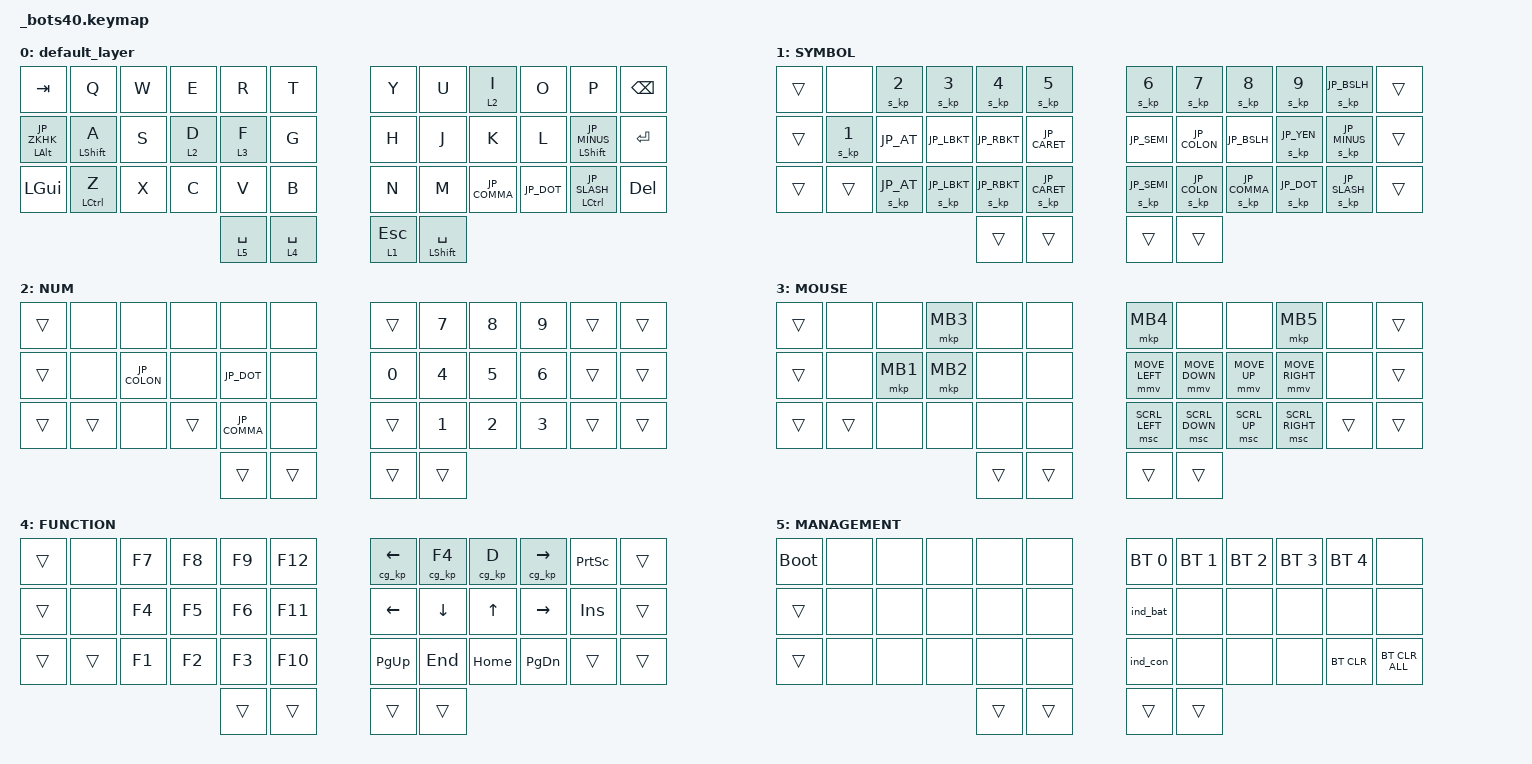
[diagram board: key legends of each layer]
#include <behaviors.dtsi>
#include <dt-bindings/zmk/bt.h>
#include <dt-bindings/zmk/keys.h>
#include <dt-bindings/zmk/pointing.h>

#include "./keycode_japanese.h"
#include <behaviors/rgbled_widget.dtsi>

// マウスの速度設定
#define ZMK_POINTING_DEFAULT_MOVE_VAL 1500 // defaullt; 600
#define ZMK_POINTING_DEFAULT_SCRL_VAL 20   // defaullt; 10

&mt {
    flavor = "balanced";
    quick-tap-ms = <0>;
};

&mmv {
    time-to-max-speed-ms = <300>;
    acceleration-exponent = <1>;
};
&msc {
    time-to-max-speed-ms = <0>;
    acceleration-exponent = <1>;
};

/ {
    combos {
        compatible = "zmk,combos";

        //tab {
        //    bindings = <&kp TAB>;
        //    key-positions = <11 12>;
        //};
    };

    macros {
         s_kp: s_kp {
            label = "S_KP";
            compatible = "zmk,behavior-macro-one-param";
            wait-ms = <16>;
            tap-ms = <0>;
            #binding-cells = <1>;
            bindings
                = <&macro_press &kp LSHFT>
                , <&macro_param_1to1>
                , <&macro_tap &kp MACRO_PLACEHOLDER>
                , <&macro_release &kp LSHFT>
                ;
        };
         cg_kp: cg_kp {
            label = "CG_KP";
            compatible = "zmk,behavior-macro-one-param";
            wait-ms = <16>;
            tap-ms = <0>;
            #binding-cells = <1>;
            bindings
                = <&macro_press &kp LGUI>
                , <&macro_press &kp LCTRL>
                , <&macro_param_1to1>
                , <&macro_tap &kp MACRO_PLACEHOLDER>
                , <&macro_release &kp LGUI>
                , <&macro_release &kp LCTRL>
                ;
        };
        to_layer_0: to_layer_0 {
            compatible = "zmk,behavior-macro-one-param";
            #binding-cells = <1>;
            bindings = <&to 0 &macro_param_1to1 &kp MACRO_PLACEHOLDER>;
            label = "TO_LAYER_0";
        };
    };

    behaviors {
        lt_to_layer_0: lt_to_layer_0 {
            compatible = "zmk,behavior-hold-tap";
            label = "LAYER_TAP_TO_0";
            bindings = <&mo>, <&to_layer_0>;

            #binding-cells = <2>;
            tapping-term-ms = <200>;
        };
    };

    keymap {
        compatible = "zmk,keymap";

        default_layer { //layer 0
            bindings = <
                &kp TAB           &kp Q        &kp W  &kp E        &kp R       &kp T                              &kp Y        &kp U  &lt 2 I       &kp O       &kp P               &kp BSPC
                &mt LALT JP_ZKHK  &mt LSHFT A  &kp S  &lt 2 D      &lt 3 F     &kp G                              &kp H        &kp J  &kp K         &kp L       &mt LSHFT JP_MINUS  &kp RET
                &kp LGUI          &mt LCTRL Z  &kp X  &kp C        &kp V       &kp B                              &kp N        &kp M  &kp JP_COMMA  &kp JP_DOT  &mt LCTRL JP_SLASH  &kp DEL
                                                      &lt 5 SPACE  &lt 4 SPACE &lt 1 ESC                          &mt LSHFT SPACE
            >;
            /* &kp TAB           &kp Q    &kp W    &kp E        &kp R     &kp T                              &kp Y        &kp U  &lt 2 I       &kp O       &kp P               &kp BSPC */
            /* &mt LALT JP_ZKHK  &lt 4 A  &lt 2 S  &kp D        &lt 3 F   &kp G                              &kp H        &kp J  &kp K         &kp L       &mt LCTRL JP_MINUS  &kp RET */
            /* &kp LGUI          &kp Z    &kp X    &kp C        &kp V     &kp B                              &kp N        &kp M  &kp JP_COMMA  &kp JP_DOT  &mt LSHFT JP_SLASH  &kp DEL */
            /*                                     &lt 5 SPACE  &kp LCTRL &lt 1 ESC                          &mt LSHIFT SPACE */

            /* &kp TAB            &kp Q    &kp W  &kp E      &kp R    &kp T                              &kp Y        &kp U  &lt 2 I       &kp O       &kp P           &kp BSPC */
            /* &mt LCTRL JP_ZKHK  &lt 4 A  &kp S  &lt 6 D    &lt 3 F  &kp G                              &kp H        &kp J  &kp K         &kp L       &lt 2 JP_MINUS  &kp RET */
            /* &kp LSHIFT         &kp Z    &kp X  &kp C      &kp V    &lt 5 B                            &kp N        &kp M  &kp JP_COMMA  &kp JP_DOT  &lt 3 JP_SLASH  &kp DEL */
            /*                                    &kp LGUI   &kp LALT &lt 1 ESC                          &kp SPACE */
            //sensor-bindings = <&inc_dec_kp PG_UP PAGE_DOWN>;
        };
        /* layer 0
         *         ┌───┬───┬───┬───┐  ┌───┬───┬───┬───┐        
         * ┌───┬───┤ W │ E │ R │ T │  │ Y │ U │ I │ O ├───┬───┐
         * │Tab│ Q ├─2─┼───┼─3─┼───┤  ├───┼───┼───┼───┤ P │BS │
         * ├Alt┼─4─┤ S │ D │ F │ G │  │ H │ J │ K │ L ├Ctr┼───┤
         * │Z/H│ A ├───┼───┼───┼───┤  ├───┼───┼───┼───┤ - │Ent
         * ├───┼───┤ X │ C │ V │ B │  │ N │ M │ , │ . ├Sft┼───┤
         * │GUI│ Z ├───┴───┴───┴───┘  └───┴───┴───┴───┤ / │Del│
         * └───┴───┘   ┌─5─┬───┬─1─┐  ┌Sft┐           └───┴───┘
         *             │Spc│Ctl│Esc│  │Spc│                    
         *             └───┴───┴───┘  └───┘                    
         */

        SYMBOL { //layer 1
            bindings = <
                &trans  &none     &s_kp N2     &s_kp N3       &s_kp N4       &s_kp N5                     &s_kp N6       &s_kp N7        &s_kp N8       &s_kp N9      &s_kp JP_BSLH   &trans
                &trans  &s_kp N1  &kp JP_AT    &kp JP_LBKT    &kp JP_RBKT    &kp JP_CARET                 &kp JP_SEMI    &kp JP_COLON    &kp JP_BSLH    &s_kp JP_YEN  &s_kp JP_MINUS  &trans
                &trans  &trans    &s_kp JP_AT  &s_kp JP_LBKT  &s_kp JP_RBKT  &s_kp JP_CARET               &s_kp JP_SEMI  &s_kp JP_COLON  &s_kp JP_COMMA &s_kp JP_DOT  &s_kp JP_SLASH  &trans
                                               &trans         &trans         &trans                       &trans
            >;
        };
        /* layer 1
         *         ┌───┬───┬───┬───┐  ┌───┬───┬───┬───┐        
         * ┌───┬───┤ " │ # │ $ │ % │  │ & │ ' │ ( │ ) ├───┬───┐
         * │Tab│   ├───┼───┼───┼───┤  ├───┼───┼───┼───┤ _ │   │
         * ├───┼───┤ @ │ [ │ ] │ ^ │  │ ; │ : │ \ │ | ├───┼───┤
         * │   │ ! ├───┼───┼───┼───┤  ├───┼───┼───┼───┤ = │   │
         * ├───┼───┤ ` │ { │ } │ ~ │  │ + │ * │ < │ > ├───┼───┤
         * │   │   ├───┴───┴───┴───┘  └───┴───┴───┴───┤ ? │   │
         * └───┴───┘   ┌───┬───┬───┐  ┌───┐           └───┴───┘
         *             │   │   │   │  │   │                    
         *             └───┴───┴───┘  └───┘                    
         */

        NUM { //layer 2
            bindings = <
                &trans  &none   &none         &none   &none         &none                                 &trans        &kp NUMBER_7  &kp NUMBER_8  &kp NUMBER_9  &trans  &trans
                &trans  &none   &kp JP_COLON  &none   &kp JP_DOT    &none                                 &kp NUMBER_0  &kp NUMBER_4  &kp NUMBER_5  &kp NUMBER_6  &trans  &trans
                &trans  &trans  &none         &trans  &kp JP_COMMA  &none                                 &trans        &kp NUMBER_1  &kp NUMBER_2  &kp NUMBER_3  &trans  &trans
                                &trans        &trans  &trans                                              &trans
            >;
        /*         &trans  &none  &none         &none         &none         &none                            &none  &none         &none          &none         &none  &trans */
        /*         &trans  &none  &kp NUMBER_4  &kp NUMBER_5  &kp NUMBER_6  &none                            &none  &kp NUMBER_7  &kp NUMBER_8   &kp NUMBER_9  &none  &trans */
        /*         &trans  &none  &kp NUMBER_1  &kp NUMBER_2  &kp NUMBER_3  &none                            &none  &kp NUMBER_0  &kp JP_COMMA   &kp JP_DOT    &none  &trans */
        /*                        &trans        &trans        &trans                                         &trans */
        };

        /* layer 2(scroll)
         *         ┌───┬───┬───┬───┐  ┌───┬───┬───┬───┐        
         * ┌───┬───┤   │   │   │   │  │   │ 7 │ 8 │ 9 ├───┬───┐
         * │Tab│   ├───┼───┼───┼───┤  ├───┼───┼───┼───┤   │   │
         * ├───┼───┤   │   │   │   │  │ 0 │ 4 │ 5 │ 6 ├───┼───┤
         * │   │   ├───┼───┼───┼───┤  ├───┼───┼───┼───┤   │   │
         * ├───┼───┤ : │ , │ . │   │  │00 │ 1 │ 2 │ 3 ├───┼───┤
         * │   │N/A├───┴───┴───┴───┘  └───┴───┴───┴───┤   │   │
         * └───┴───┘   ┌───┬───┬───┐  ┌───┐           └───┴───┘
         *             │   │   │   │  │   │                    
         *             └───┴───┴───┘  └───┘                    
         */

        MOUSE { //layer 3
            bindings = <
                &trans  &none   &none     &mkp MB3  &none   &none                                          &mkp MB4        &none           &none         &mkp MB5         &none  &trans
                &trans  &none   &mkp MB1  &mkp MB2  &none   &none                                          &mmv MOVE_LEFT  &mmv MOVE_DOWN  &mmv MOVE_UP  &mmv MOVE_RIGHT  &none  &trans
                &trans  &trans  &none     &none     &none   &none                                          &msc SCRL_LEFT  &msc SCRL_DOWN  &msc SCRL_UP  &msc SCRL_RIGHT  &trans  &trans
                                          &trans    &trans  &trans                                         &trans
            >;
        };
        /* layer 3
         *         ┌───┬───┬───┬───┐  ┌───┬───┬───┬───┐          M1: 
         * ┌───┬───┤   │   │   │   │  │   │   │MB3│   ├───┬───┐  M2: Alt-Left 
         * │Tab│   ├───┼───┼───┼───┤  ├───┼───┼───┼───┤   │   │  M3: Alt-Right
         * ├───┼───┤   │M2 │M3 │N/A│  │   │   │MB1│MB2├───┼───┤  M4: 
         * │   │   ├───┼───┼───┼───┤  ├───┼───┼───┼───┤   │   │
         * ├───┼───┤   │   │   │   │  │MML│MMD│MMU│MMR├───┼───┤
         * │   │   ├───┴───┴───┴───┘  └───┴───┴───┴───┤   │   │
         * └───┴───┘   ┌───┬───┬───┐  ┌───┐           └───┴───┘
         *             │   │   │   │  │   │                    
         *             └───┴───┴───┘  └───┘                    
         */

        FUNCTION { //layer 4
            bindings = <
                &trans  &none   &kp F7  &kp F8  &kp F9  &kp F12                                            &cg_kp LEFT_ARROW &cg_kp F4       &cg_kp D      &cg_kp RIGHT_ARROW  &kp PSCRN  &trans
                &trans  &none   &kp F4  &kp F5  &kp F6  &kp F11                                            &kp LEFT_ARROW    &kp DOWN_ARROW  &kp UP_ARROW  &kp RIGHT_ARROW     &kp INS    &trans
                &trans  &trans  &kp F1  &kp F2  &kp F3  &kp F10                                            &kp PG_UP         &kp END         &kp HOME      &kp PG_DN           &trans     &trans
                                        &trans  &trans  &trans                                             &trans
            >;
        };
        /* layer 4
         *         ┌───┬───┬───┬───┐  ┌───┬───┬───┬───┐          M1: Win-Ctrl-Left
         * ┌───┬───┤F9 │F10│F11│F12│  │M1 │M2 │M3 │M4 ├───┬───┐  M2: Win-Ctrl-F4
         * │Tab│   ├───┼───┼───┼───┤  ├───┼───┼───┼───┤Prs│   │  M4: Win-Ctrl-D
         * ├───┼───┤F5 │F6 │F7 │F8 │  │ ← │ ↓ │ ↑ │ → ├───┼───┤  M3: Win-Ctrl-Right
         * │   │   ├───┼───┼───┼───┤  ├───┼───┼───┼───┤Ins│   │
         * ├───┼───┤F1 │F2 │F3 │F4 │  │Pdn│End│Hom│Pup├───┼───┤
         * │   │   ├───┴───┴───┴───┘  └───┴───┴───┴───┤   │   │
         * └───┴───┘   ┌───┬───┬───┐  ┌───┐           └───┴───┘
         *             │   │   │   │  │N/A│                    
         *             └───┴───┴───┘  └───┘                    
         */
        MANAGEMENT { //layer 5
            bindings = <
                &bootloader  &none  &none  &none   &none   &none                                          &bt BT_SEL 0  &bt BT_SEL 1  &bt BT_SEL 2  &bt BT_SEL 3  &bt BT_SEL 4  &none
                &trans       &none  &none  &none   &none   &none                                          &ind_bat      &none         &none         &none         &none         &none
                &trans       &none  &none  &none   &none   &none                                          &ind_con      &none         &none         &none         &bt BT_CLR    &bt BT_CLR_ALL
                                           &trans  &trans  &trans                                         &trans
            >;
        };
        /* layer 5
         *         ┌───┬───┬───┬───┐  ┌───┬───┬───┬───┐        
         * ┌───┬───┤   │   │   │   │  │BT1│BT2│BT3│BT4├───┬───┐
         * │Tab│BTL├───┼───┼───┼───┤  ├───┼───┼───┼───┤BT5│   │
         * ├───┼───┤   │   │   │   │  │   │   │   │   ├───┼───┤
         * │   │   ├───┼───┼───┼───┤  ├───┼───┼───┼───┤   │   │
         * ├───┼───┤   │   │   │   │  │   │   │   │   ├───┼───┤
         * │   │   ├───┴───┴───┴───┘  └───┴───┴───┴───┤BCL│BCA│
         * └───┴───┘   ┌───┬───┬───┐  ┌───┐           └───┴───┘
         *             │   │   │   │  │   │                    
         *             └───┴───┴───┘  └───┘                    
         */

    };
};
//&trans  &trans  &trans  &trans  &trans  &trans                                         &trans  &trans  &trans  &trans  &trans  &trans
//&trans  &trans  &trans  &trans  &trans  &trans                                         &trans  &trans  &trans  &trans  &trans  &trans
//&trans  &trans  &trans  &trans  &trans  &trans                                         &trans  &trans  &trans  &trans  &trans  &trans
//                        &trans  &trans  &trans                                         &trans
